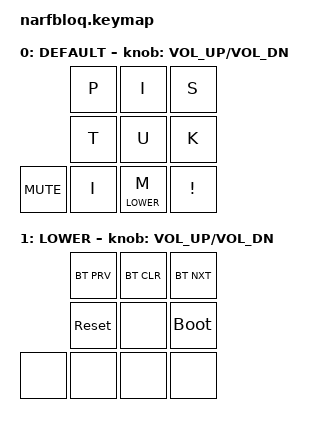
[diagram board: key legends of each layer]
#include <behaviors.dtsi>
#include <dt-bindings/zmk/keys.h>
#include <dt-bindings/zmk/bt.h>
#include <dt-bindings/zmk/outputs.h>

#define DEFAULT 0
#define LOWER   1

/ {
    keymap {
        compatible = "zmk,keymap";
        default_layer {
            label= "DEFAULT";
            bindings = <
                          &kp P       &kp I         &kp S
                          &kp T     &kp U    &kp K
            &kp C_MUTE    &kp I     &lt LOWER M  &kp EXCL
            >;
            sensor-bindings = <&inc_dec_kp C_VOL_UP C_VOL_DN>;
        };
        lower_layer {
            label = "LOWER";
            bindings = <
                          &bt BT_PRV      &bt BT_CLR        &bt BT_NXT
                          &sys_reset      &none             &bootloader
             &none        &none           &none             &none
            >;
            sensor-bindings = <&inc_dec_kp C_VOL_UP C_VOL_DN>;
        };
    };
};
